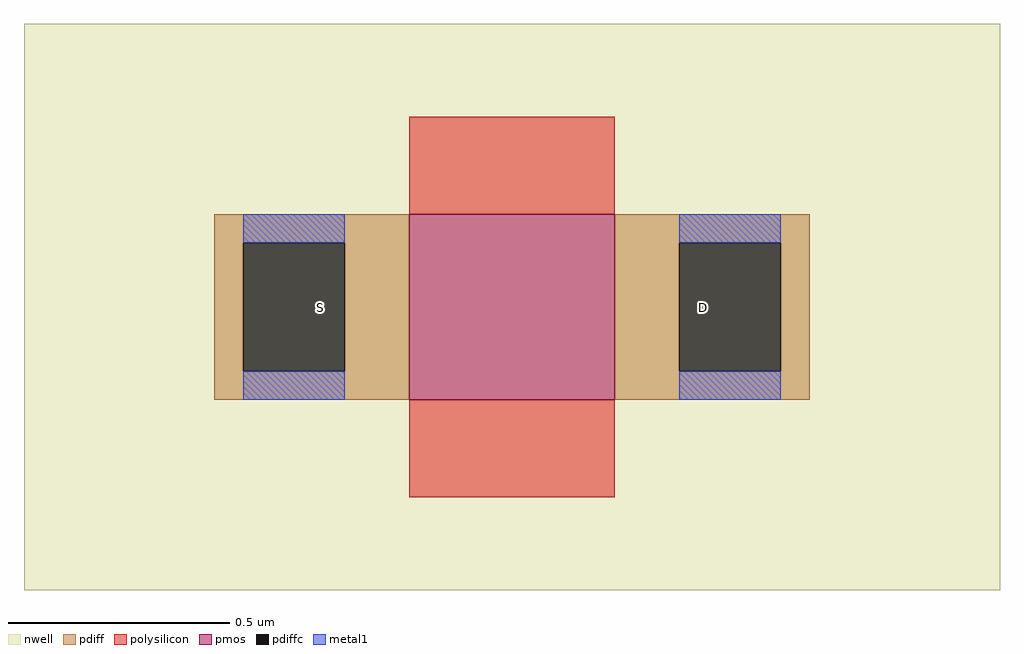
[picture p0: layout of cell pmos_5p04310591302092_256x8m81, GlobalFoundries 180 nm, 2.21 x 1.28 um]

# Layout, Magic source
magic
tech gf180mcuD
magscale 1 10
<< nwell >>
rect -174 -86 267 170
<< pmos >>
rect 0 0 93 84
<< pdiff >>
rect -88 71 0 84
rect -88 13 -75 71
rect -29 13 0 71
rect -88 0 0 13
rect 93 71 181 84
rect 93 13 122 71
rect 168 13 181 71
rect 93 0 181 13
<< pdiffc >>
rect -75 13 -29 71
rect 122 13 168 71
<< polysilicon >>
rect 0 84 93 128
rect 0 -44 93 0
<< metal1 >>
rect -75 71 -29 84
rect -75 0 -29 13
rect 122 71 168 84
rect 122 0 168 13
<< labels >>
flabel pdiffc -40 42 -40 42 0 FreeSans 186 0 0 0 S
flabel pdiffc 133 42 133 42 0 FreeSans 186 0 0 0 D
<< end >>
